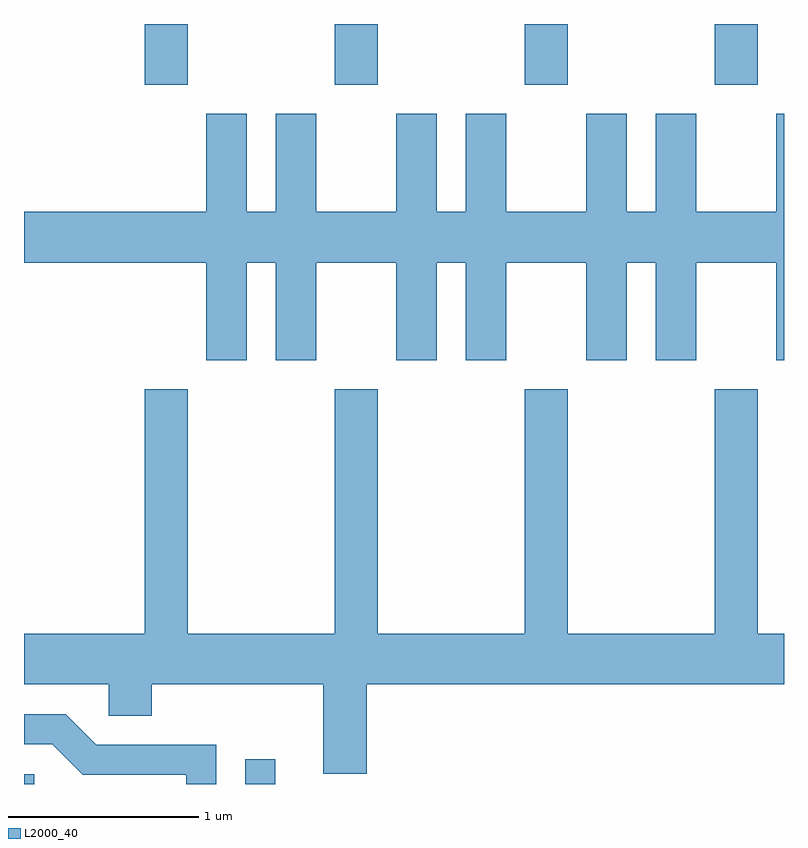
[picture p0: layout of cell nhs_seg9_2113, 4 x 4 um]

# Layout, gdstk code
import gdstk
lib = gdstk.Library(unit=1e-6, precision=1e-09)
def R(c, l, rs):  # rectangles x0, y0, x1, y1
    for r in rs: c.add(gdstk.rectangle(r[:2], r[2:], *l))
def A(c, l, x, y, w, h, nx, ny, dx, dy):  # array of equal rectangles
    R(c, l, [(x+i*dx, y+j*dy, x+i*dx+w, y+j*dy+h) for i in range(nx) for j in range(ny)])
def P(c, l, *ps):  # polygons
    for p in ps: c.add(gdstk.Polygon(p, *l))
L2000_40 = (2000, 40)

nhs_seg9_2113 = lib.new_cell('nhs_seg9_2113')
A(nhs_seg9_2113, L2000_40, 248.246, 1966.111, 0.228, 0.321, 4, 1, 1, 0)
R(nhs_seg9_2113, L2000_40, [(247.611,1962.432,247.664,1962.484), (248.776,1962.432,248.934,1962.563)])
P(nhs_seg9_2113, L2000_40, [(250.936,1965.959),(250.936,1965.444),(250.784,1965.444),(250.784,1965.959),(250.571,1965.959),(250.571,1965.444),(250.149,1965.444),(250.149,1965.959),(249.936,1965.959),(249.936,1965.444),(249.784,1965.444),(249.784,1965.959),(249.571,1965.959),(249.571,1965.444),(249.149,1965.444),(249.149,1965.959),(248.936,1965.959),(248.936,1965.444),(248.784,1965.444),(248.784,1965.959),(248.571,1965.959),(248.571,1965.444),(247.611,1965.444),(247.611,1965.176),(248.571,1965.176),(248.571,1964.661),(248.784,1964.661),(248.784,1965.176),(248.936,1965.176),(248.936,1964.661),(249.149,1964.661),(249.149,1965.176),(249.571,1965.176),(249.571,1964.661),(249.784,1964.661),(249.784,1965.176),(249.936,1965.176),(249.936,1964.661),(250.149,1964.661),(250.149,1965.176),(250.571,1965.176),(250.571,1964.661),(250.784,1964.661),(250.784,1965.176),(250.936,1965.176),(250.936,1964.661),(251.149,1964.661),(251.149,1965.176),(251.571,1965.176),(251.571,1964.661),(251.611,1964.661),(251.611,1965.959),(251.571,1965.959),(251.571,1965.444),(251.149,1965.444),(251.149,1965.959)],
  [(249.246,1963.224),(248.474,1963.224),(248.474,1964.509),(248.246,1964.509),(248.246,1963.224),(247.611,1963.224),(247.611,1962.956),(248.056,1962.956),(248.056,1962.791),(248.284,1962.791),(248.284,1962.956),(249.186,1962.956),(249.186,1962.486),(249.414,1962.486),(249.414,1962.956),(251.611,1962.956),(251.611,1963.224),(251.474,1963.224),(251.474,1964.509),(251.246,1964.509),(251.246,1963.224),(250.474,1963.224),(250.474,1964.509),(250.246,1964.509),(250.246,1963.224),(249.474,1963.224),(249.474,1964.509),(249.246,1964.509)],
  [(248.624,1962.639),(247.992,1962.639),(247.832,1962.799),(247.611,1962.799),(247.611,1962.641),(247.759,1962.641),(247.919,1962.481),(248.466,1962.481),(248.466,1962.432),(248.624,1962.432)])

lib.write_gds('nhs_seg9_2113.gds')
